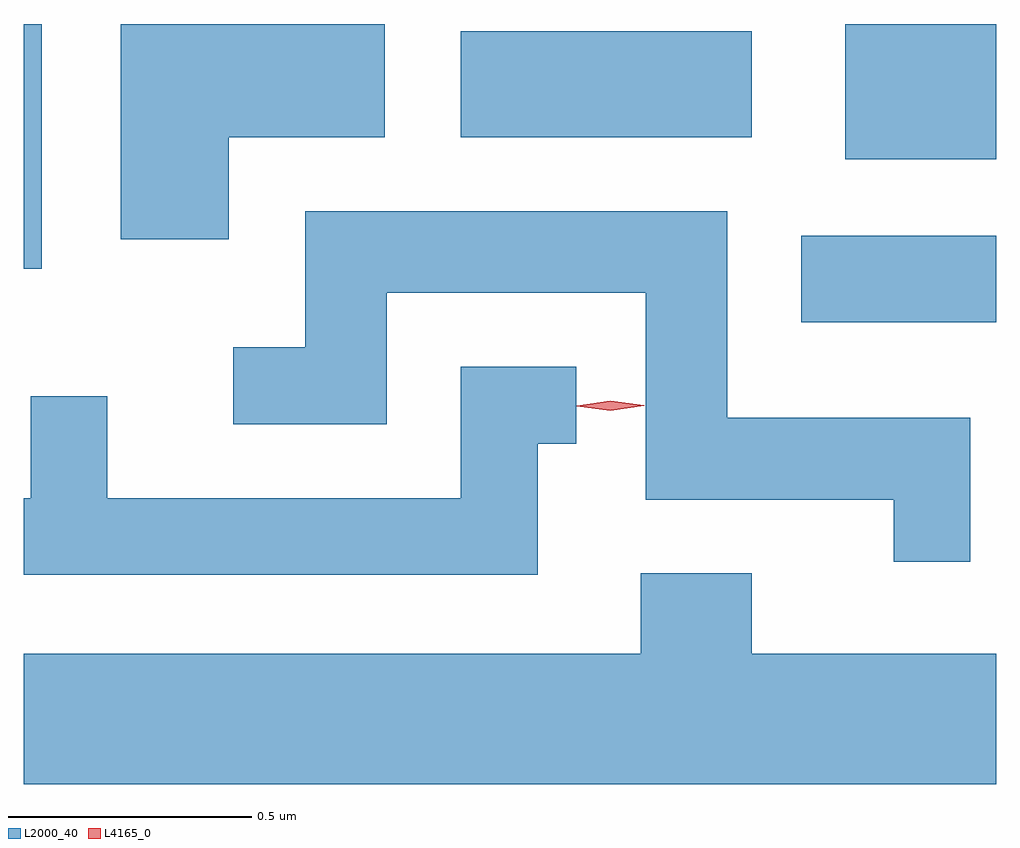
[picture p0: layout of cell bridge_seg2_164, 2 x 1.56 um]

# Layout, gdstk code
import gdstk
lib = gdstk.Library(unit=1e-6, precision=1e-09)
def R(c, l, rs):  # rectangles x0, y0, x1, y1
    for r in rs: c.add(gdstk.rectangle(r[:2], r[2:], *l))
def P(c, l, *ps):  # polygons
    for p in ps: c.add(gdstk.Polygon(p, *l))
L2000_40 = (2000, 40)
L4165_0 = (4165, 0)

bridge_seg2_164 = lib.new_cell('bridge_seg2_164')
R(bridge_seg2_164, L2000_40, [(689.611,1089.226,690.012,1089.404), (688.012,1089.336,688.049,1089.839), (689.701,1089.561,690.012,1089.839), (688.911,1089.606,689.509,1089.824)])
P(bridge_seg2_164, L2000_40, [(688.434,1089.606),(688.754,1089.606),(688.754,1089.839),(688.211,1089.839),(688.211,1089.396),(688.434,1089.396)],
  [(689.959,1089.029),(689.459,1089.029),(689.459,1089.454),(688.591,1089.454),(688.591,1089.174),(688.443,1089.174),(688.443,1089.016),(688.759,1089.016),(688.759,1089.286),(689.291,1089.286),(689.291,1088.861),(689.801,1088.861),(689.801,1088.733),(689.959,1088.733)],
  [(689.069,1088.976),(689.148,1088.976),(689.148,1089.134),(688.911,1089.134),(688.911,1088.864),(688.184,1088.864),(688.184,1089.073),(688.026,1089.073),(688.026,1088.864),(688.012,1088.864),(688.012,1088.706),(689.069,1088.706)],
  [(690.012,1088.544),(689.509,1088.544),(689.509,1088.709),(689.281,1088.709),(689.281,1088.544),(688.012,1088.544),(688.012,1088.276),(690.012,1088.276)])
P(bridge_seg2_164, L4165_0, [(689.218,1089.044),(689.149,1089.053),(689.149,1089.054),(689.149,1089.054),(689.218,1089.064),(689.288,1089.055),(689.288,1089.054),(689.288,1089.054)])

lib.write_gds('bridge_seg2_164.gds')
